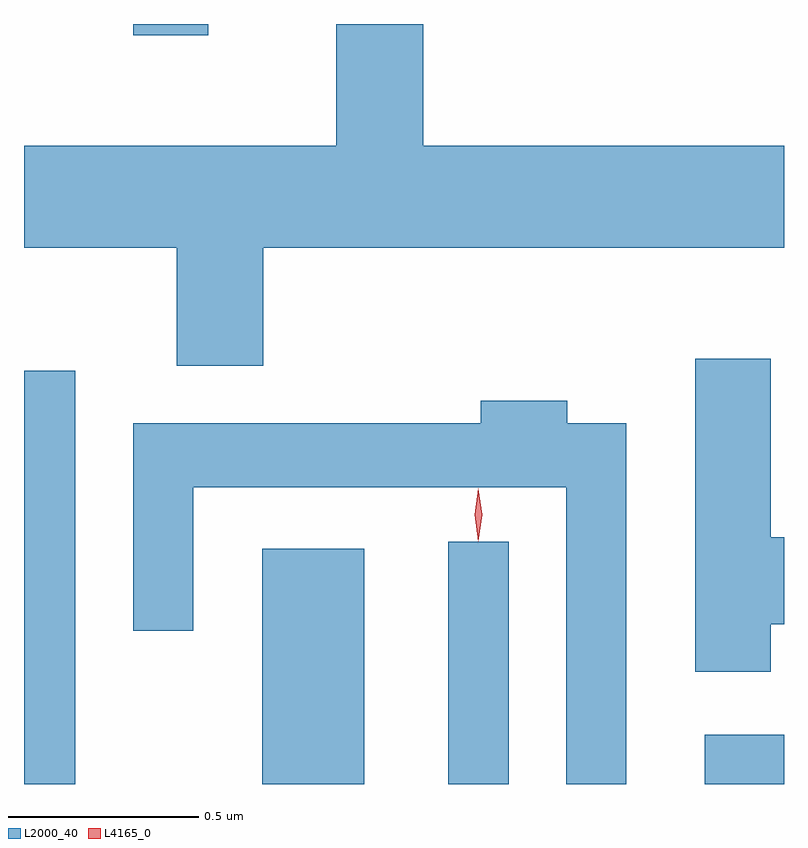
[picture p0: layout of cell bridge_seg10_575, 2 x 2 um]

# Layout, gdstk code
import gdstk
lib = gdstk.Library(unit=1e-6, precision=1e-09)
def R(c, l, rs):  # rectangles x0, y0, x1, y1
    for r in rs: c.add(gdstk.rectangle(r[:2], r[2:], *l))
def P(c, l, *ps):  # polygons
    for p in ps: c.add(gdstk.Polygon(p, *l))
L2000_40 = (2000, 40)
L4165_0 = (4165, 0)

bridge_seg10_575 = lib.new_cell('bridge_seg10_575')
R(bridge_seg10_575, L2000_40, [(767.789,2190.205,767.924,2191.293), (768.416,2190.205,768.684,2190.824), (768.906,2190.205,769.064,2190.843), (769.581,2190.205,769.789,2190.334), (768.076,2192.176,768.274,2192.205)])
P(bridge_seg10_575, L2000_40, [(768.419,2191.616),(769.789,2191.616),(769.789,2191.884),(768.839,2191.884),(768.839,2192.205),(768.611,2192.205),(768.611,2191.884),(767.789,2191.884),(767.789,2191.616),(768.191,2191.616),(768.191,2191.306),(768.419,2191.306)],
  [(769.754,2190.626),(769.789,2190.626),(769.789,2190.854),(769.754,2190.854),(769.754,2191.324),(769.556,2191.324),(769.556,2190.501),(769.754,2190.501)],
  [(769.374,2191.154),(769.219,2191.154),(769.219,2191.214),(768.991,2191.214),(768.991,2191.154),(768.076,2191.154),(768.076,2190.608),(768.234,2190.608),(768.234,2190.986),(769.216,2190.986),(769.216,2190.205),(769.374,2190.205)])
P(bridge_seg10_575, L4165_0, [(768.985,2190.843),(768.984,2190.844),(768.975,2190.913),(768.984,2190.982),(768.985,2190.983),(768.985,2190.982),(768.995,2190.913),(768.985,2190.844)])

lib.write_gds('bridge_seg10_575.gds')
